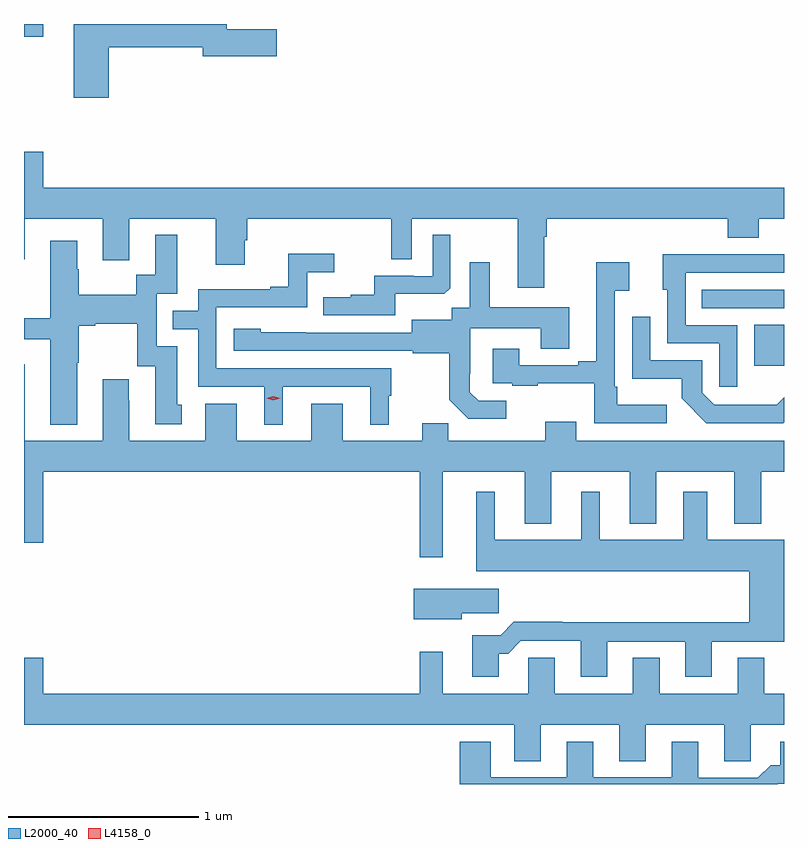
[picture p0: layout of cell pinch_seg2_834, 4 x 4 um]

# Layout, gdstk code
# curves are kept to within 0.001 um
import gdstk
lib = gdstk.Library(unit=1e-6, precision=1e-09)
def R(c, l, rs):  # rectangles x0, y0, x1, y1
    for r in rs: c.add(gdstk.rectangle(r[:2], r[2:], *l))
def P(c, l, *ps):  # polygons
    for p in ps: c.add(gdstk.Polygon(p, *l))
L2000_40 = (2000, 40)
L4158_0 = (4158, 0)

pinch_seg2_834 = lib.new_cell('pinch_seg2_834')
R(pinch_seg2_834, L2000_40, [(876.206,613.562,876.362,613.777), (875.929,613.866,876.362,613.962), (872.362,615.294,872.464,615.361)])
P(pinch_seg2_834, L2000_40, [(872.807,615.238),(873.302,615.238),(873.302,615.191),(873.691,615.191),(873.691,615.333),(873.43,615.333),(873.43,615.361),(872.624,615.361),(872.624,614.973),(872.807,614.973)],
  [(875.101,614.24),(875.114,614.24),(875.114,614.336),(876.065,614.336),(876.065,614.237),(876.229,614.237),(876.229,614.336),(876.362,614.336),(876.362,614.5),(872.464,614.5),(872.464,614.689),(872.362,614.689),(872.362,614.123),(872.365,614.123),(872.365,614.336),(872.777,614.336),(872.777,614.118),(872.917,614.118),(872.917,614.336),(873.371,614.336),(873.371,614.094),(873.523,614.094),(873.523,614.223),(873.536,614.223),(873.536,614.336),(874.296,614.336),(874.296,614.122),(874.404,614.122),(874.404,614.336),(874.961,614.336),(874.961,613.974),(875.101,613.974)],
  [(872.641,613.579),(872.649,613.579),(872.649,613.772),(872.737,613.772),(872.737,613.784),(872.957,613.784),(872.957,613.56),(873.053,613.56),(873.053,613.254),(873.193,613.254),(873.193,613.356),(873.169,613.356),(873.169,613.665),(873.06,613.665),(873.06,613.941),(873.169,613.941),(873.169,614.251),(873.053,614.251),(873.053,614.042),(872.952,614.042),(872.952,613.936),(872.649,613.936),(872.649,614.07),(872.641,614.07),(872.641,614.221),(872.501,614.221),(872.501,613.813),(872.362,613.813),(872.362,613.703),(872.501,613.703),(872.501,613.253),(872.641,613.253)],
  [(874.315,613.94),(874.573,613.94),(874.605,613.971),(874.605,614.251),(874.512,614.251),(874.512,614.034),(874.412,614.034),(874.412,614.037),(874.205,614.037),(874.205,613.936),(874.081,613.936),(874.081,613.924),(873.937,613.924),(873.937,613.827),(874.315,613.827)],
  [(873.724,613.452),(874.184,613.452),(874.184,613.253),(874.282,613.253),(874.282,613.404),(874.294,613.404),(874.294,613.548),(873.375,613.548),(873.375,613.869),(873.852,613.869),(873.852,614.054),(873.994,614.054),(873.994,614.153),(873.754,614.153),(873.754,613.978),(873.659,613.978),(873.659,613.965),(873.279,613.965),(873.279,613.851),(873.145,613.851),(873.145,613.755),(873.279,613.755),(873.279,613.452),(873.626,613.452),(873.626,613.253),(873.724,613.253)],
  [(876.117,613.776),(875.844,613.776),(875.844,614.052),(876.362,614.052),(876.362,614.148),(875.941,614.148),(875.941,614.15),(875.723,614.15),(875.723,613.962),(875.748,613.962),(875.748,613.68),(876.021,613.68),(876.021,613.452),(876.117,613.452)],
  [(875.746,613.357),(875.485,613.357),(875.485,613.453),(875.472,613.453),(875.472,613.958),(875.548,613.958),(875.548,614.107),(875.375,614.107),(875.375,613.585),(875.279,613.585),(875.279,613.566),(874.969,613.566),(874.969,613.651),(874.829,613.651),(874.829,613.47),(874.933,613.47),(874.933,613.458),(875.065,613.458),(875.065,613.469),(875.364,613.469),(875.364,613.26),(875.746,613.26)],
  [(874.9,613.377),(874.755,613.377),(874.708,613.424),(874.708,613.519),(874.71,613.519),(874.71,613.76),(875.081,613.76),(875.081,613.651),(875.233,613.651),(875.233,613.87),(874.813,613.87),(874.813,614.107),(874.709,614.107),(874.709,613.868),(874.614,613.868),(874.614,613.804),(874.403,613.804),(874.403,613.737),(873.609,613.738),(873.609,613.756),(873.465,613.756),(873.465,613.641),(874.407,613.641),(874.407,613.629),(874.599,613.629),(874.599,613.383),(874.699,613.283),(874.9,613.283)],
  [(876.362,613.265),(876.362,613.397),(876.323,613.358),(876.218,613.358),(876.218,613.356),(875.994,613.356),(875.931,613.419),(875.931,613.59),(875.658,613.59),(875.658,613.819),(875.562,613.819),(875.562,613.493),(875.824,613.493),(875.824,613.391),(875.954,613.26),(876.357,613.26)],
  [(874.567,613.004),(874.997,613.004),(874.997,612.731),(875.137,612.731),(875.137,613.004),(875.549,613.004),(875.549,612.731),(875.689,612.731),(875.689,613.004),(876.101,613.004),(876.101,612.731),(876.241,612.731),(876.241,613.004),(876.362,613.004),(876.362,613.168),(875.269,613.168),(875.269,613.267),(875.105,613.267),(875.105,613.168),(874.595,613.168),(874.595,613.259),(874.457,613.259),(874.457,613.168),(874.039,613.168),(874.039,613.363),(873.875,613.363),(873.875,613.168),(873.481,613.168),(873.481,613.363),(873.317,613.363),(873.317,613.168),(872.917,613.168),(872.917,613.379),(872.914,613.379),(872.914,613.492),(872.777,613.492),(872.777,613.168),(872.365,613.168),(872.365,613.57),(872.362,613.57),(872.362,612.63),(872.464,612.63),(872.464,613.004),(874.446,613.004),(874.446,612.555),(874.567,612.555)],
  [(874.861,612.047),(874.91,612.047),(874.977,612.114),(875.291,612.114),(875.291,611.925),(875.431,611.925),(875.431,612.111),(875.843,612.111),(875.843,611.925),(875.983,611.925),(875.983,612.111),(876.362,612.111),(876.362,612.646),(875.959,612.646),(875.959,612.898),(875.831,612.898),(875.831,612.646),(875.392,612.646),(875.392,612.898),(875.294,612.898),(875.294,612.646),(874.84,612.646),(874.84,612.898),(874.742,612.898),(874.742,612.482),(876.179,612.482),(876.179,612.212),(875.195,612.212),(875.195,612.215),(874.94,612.215),(874.87,612.145),(874.721,612.145),(874.721,611.925),(874.861,611.925)],
  [(874.666,612.259),(874.861,612.259),(874.861,612.388),(874.412,612.388),(874.412,612.227),(874.666,612.227)],
  [(872.362,612.025),(872.362,611.672),(874.943,611.672),(874.943,611.482),(875.083,611.482),(875.083,611.672),(875.495,611.672),(875.495,611.482),(875.635,611.482),(875.635,611.672),(876.047,611.672),(876.047,611.482),(876.186,611.482),(876.186,611.672),(876.362,611.672),(876.362,611.836),(876.259,611.836),(876.259,612.026),(876.119,612.026),(876.119,611.836),(875.707,611.836),(875.707,612.026),(875.567,612.026),(875.567,611.836),(875.155,611.836),(875.155,612.026),(875.016,612.026),(875.016,611.836),(874.567,611.836),(874.567,612.058),(874.446,612.058),(874.446,611.836),(872.464,611.836),(872.464,612.025)],
  [(876.332,611.363),(876.362,611.363),(876.362,611.584),(876.341,611.584),(876.341,611.461),(876.292,611.461),(876.225,611.394),(875.911,611.394),(875.911,611.584),(875.771,611.584),(875.771,611.397),(875.359,611.397),(875.359,611.584),(875.219,611.584),(875.219,611.397),(874.819,611.397),(874.819,611.584),(874.655,611.584),(874.655,611.361),(876.33,611.361)])
P(pinch_seg2_834, L4158_0, [(873.675,613.381),(873.64,613.39),(873.639,613.391),(873.64,613.391),(873.675,613.401),(873.71,613.391),(873.711,613.391),(873.71,613.39)])

lib.write_gds('pinch_seg2_834.gds')
